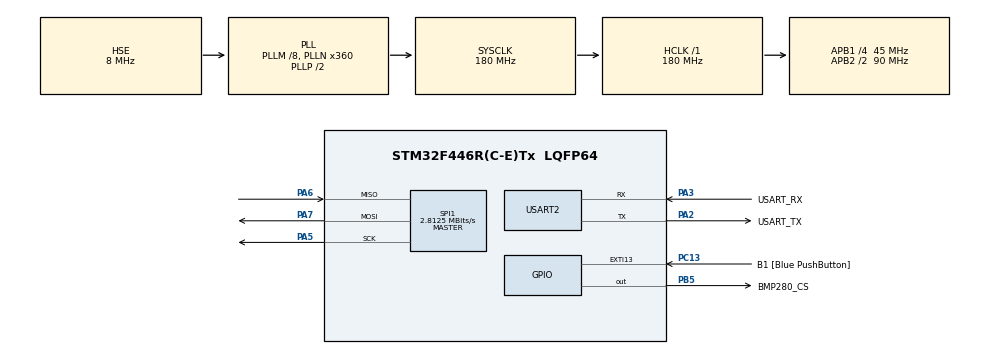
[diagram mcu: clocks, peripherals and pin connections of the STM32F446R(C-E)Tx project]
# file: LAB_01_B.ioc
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Mcu.Family=STM32F4
Mcu.Name=STM32F446R(C-E)Tx
Mcu.Package=LQFP64
NVIC.PriorityGroup=NVIC_PRIORITYGROUP_0
PA13.GPIO_Label=TMS
PA13.Signal=SYS_JTMS-SWDIO
PA14.GPIO_Label=TCK
PA14.Signal=SYS_JTCK-SWCLK
PA2.GPIO_Label=USART_TX
PA2.Mode=Asynchronous
PA2.Signal=USART2_TX
PA3.GPIO_Label=USART_RX
PA3.Mode=Asynchronous
PA3.Signal=USART2_RX
PA5.Mode=Full_Duplex_Master
PA5.Signal=SPI1_SCK
PA6.Mode=Full_Duplex_Master
PA6.Signal=SPI1_MISO
PA7.Mode=Full_Duplex_Master
PA7.Signal=SPI1_MOSI
PB3.GPIO_Label=SWO
PB3.Signal=SYS_JTDO-SWO
PB5.GPIO_Label=BMP280_CS
PB5.GPIO_Speed=GPIO_SPEED_FREQ_HIGH
PB5.PinState=GPIO_PIN_SET
PB5.Signal=GPIO_Output
PC13.GPIO_Label=B1 [Blue PushButton]
PC13.GPIO_ModeDefaultEXTI=GPIO_MODE_IT_FALLING
PC13.Signal=GPXTI13
PC14-OSC32_IN.Signal=RCC_OSC32_IN
PC15-OSC32_OUT.Signal=RCC_OSC32_OUT
PH0-OSC_IN.Mode=HSE-External-Oscillator
PH0-OSC_IN.Signal=RCC_OSC_IN
PH1-OSC_OUT.Mode=HSE-External-Oscillator
PH1-OSC_OUT.Signal=RCC_OSC_OUT
ProjectManager.HeapSize=0x200
ProjectManager.StackSize=0x400
ProjectManager.TargetToolchain=STM32CubeIDE
RCC.AHBFreq_Value=180000000
RCC.APB1CLKDivider=RCC_HCLK_DIV4
RCC.APB1Freq_Value=45000000
RCC.APB1TimFreq_Value=90000000
RCC.APB2CLKDivider=RCC_HCLK_DIV2
RCC.APB2Freq_Value=90000000
RCC.APB2TimFreq_Value=180000000
RCC.CortexFreq_Value=180000000
RCC.FLatency-AdvancedSettings=FLASH_LATENCY_5
RCC.HCLKFreq_Value=180000000
RCC.HSE_VALUE=8000000
RCC.HSI_VALUE=16000000
RCC.LSE_VALUE=32768
RCC.PLLM=8
RCC.PLLN=360
RCC.PLLSourceVirtual=RCC_PLLSOURCE_HSE
RCC.SYSCLKFreq_VALUE=180000000
RCC.SYSCLKSource=RCC_SYSCLKSOURCE_PLLCLK
RCC.USBFreq_Value=180000000
RCC.VCOOutputFreq_Value=360000000
SPI1.BaudRatePrescaler=SPI_BAUDRATEPRESCALER_32
SPI1.CalculateBaudRate=2.8125 MBits/s
SPI1.Direction=SPI_DIRECTION_2LINES
SPI1.Mode=SPI_MODE_MASTER
SPI1.VirtualType=VM_MASTER
TIM6.AutoReloadPreload=TIM_AUTORELOAD_PRELOAD_ENABLE
TIM6.Prescaler=89
USART2.VirtualMode=VM_ASYNC
VP_TIM6_VS_ClockSourceINT.Mode=Enable_Timer
board=NUCLEO-F446RE

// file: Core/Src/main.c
/* USER CODE BEGIN Header */
/**
  ******************************************************************************
  * @file           : main.c
  * @brief          : Main program body
  ******************************************************************************
  * @attention
  *
  * Copyright (c) 2026 STMicroelectronics.
  * All rights reserved.
  *
  * This software is licensed under terms that can be found in the LICENSE file
  * in the root directory of this software component.
  * If no LICENSE file comes with this software, it is provided AS-IS.
  *
  ******************************************************************************
  */
/* USER CODE END Header */
#include "main.h"

/* USER CODE BEGIN Includes */
#include <stdio.h>
#include <string.h>
#include <stdint.h>
/* USER CODE END Includes */

/* USER CODE BEGIN PD */
#define BMP280_REG_CHIP_ID     0xD0
#define BMP280_REG_RESET       0xE0
#define BMP280_REG_STATUS      0xF3
#define BMP280_REG_CTRL_MEAS   0xF4
#define BMP280_REG_CONFIG      0xF5
#define BMP280_REG_PRESS_MSB   0xF7
#define BMP280_REG_CALIB_START 0x88

#define CHIP_ID_BMP280  0x58
#define CHIP_ID_BME280  0x60

#define CS_LOW()   HAL_GPIO_WritePin(GPIOB, GPIO_PIN_5, GPIO_PIN_RESET)
#define CS_HIGH()  HAL_GPIO_WritePin(GPIOB, GPIO_PIN_5, GPIO_PIN_SET)
/* USER CODE END PD */

SPI_HandleTypeDef hspi1;

TIM_HandleTypeDef htim6;

UART_HandleTypeDef huart2;

/* USER CODE BEGIN PV */
static uint16_t T1;
static  int16_t T2, T3;
static uint16_t P1;
static  int16_t P2, P3, P4, P5;
static  int16_t P6, P7, P8, P9;
static  int32_t t_preq;
/* USER CODE END PV */

void SystemClock_Config(void);
static void MX_GPIO_Init(void);
static void MX_SPI1_Init(void);
static void MX_TIM6_Init(void);
static void MX_USART2_UART_Init(void);

/* USER CODE BEGIN 0 */

static uint8_t SPI_Transfer(uint8_t data)
{
    uint8_t rx = 0;
    HAL_SPI_TransmitReceive(&hspi1, &data, &rx, 1, HAL_MAX_DELAY);
    return rx;
}

static uint8_t SPI_ReadByte(uint8_t reg)
{
    CS_LOW();
    SPI_Transfer(reg | 0x80);
    uint8_t val = SPI_Transfer(0xFF);
    CS_HIGH();
    return val;
}

static void SPI_WriteByte(uint8_t reg, uint8_t data)
{
    CS_LOW();
    SPI_Transfer(reg & 0x7F);
    SPI_Transfer(data);
    CS_HIGH();
}

static void SPI_ReadBurst(uint8_t reg, uint8_t *buf, uint8_t len)
{
    CS_LOW();
    SPI_Transfer(reg | 0x80);
    for (uint8_t i = 0; i < len; i++)
        buf[i] = SPI_Transfer(0xFF);
    CS_HIGH();
}

static void Load_Calibration(void)
{
    uint8_t c[24];
    SPI_ReadBurst(BMP280_REG_CALIB_START, c, 24);
    T1 = (uint16_t)(c[1]  << 8 | c[0]);
    T2 =  (int16_t)(c[3]  << 8 | c[2]);
    T3 =  (int16_t)(c[5]  << 8 | c[4]);
    P1 = (uint16_t)(c[7]  << 8 | c[6]);
    P2 =  (int16_t)(c[9]  << 8 | c[8]);
    P3 =  (int16_t)(c[11] << 8 | c[10]);
    P4 =  (int16_t)(c[13] << 8 | c[12]);
    P5 =  (int16_t)(c[15] << 8 | c[14]);
    P6 =  (int16_t)(c[17] << 8 | c[16]);
    P7 =  (int16_t)(c[19] << 8 | c[18]);
    P8 =  (int16_t)(c[21] << 8 | c[20]);
    P9 =  (int16_t)(c[23] << 8 | c[22]);
}

static int32_t Compensate_Temperature(int32_t adc_T)
{
    int32_t var1, var2;
    var1 = ((((adc_T >> 3) - ((int32_t)T1 << 1))) * ((int32_t)T2)) >> 11;
    var2 = (((((adc_T >> 4) - ((int32_t)T1)) *
              ((adc_T >> 4) - ((int32_t)T1))) >> 12) *
              ((int32_t)T3)) >> 14;
    t_preq = var1 + var2;
    return (t_preq * 5 + 128) >> 8;
}

static uint32_t Compensate_Pressure(int32_t adc_P)
{
    int64_t var1, var2, p;
    var1 = ((int64_t)t_preq) - 128000;
    var2 = var1 * var1 * (int64_t)P6;
    var2 = var2 + ((var1 * (int64_t)P5) << 17);
    var2 = var2 + (((int64_t)P4) << 35);
    var1 = ((var1 * var1 * (int64_t)P3) >> 8) + ((var1 * (int64_t)P2) << 12);
    var1 = (((((int64_t)1) << 47) + var1)) * ((int64_t)P1) >> 33;
    if (var1 == 0) return 0;
    p    = 1048576 - adc_P;
    p    = (((p << 31) - var2) * 3125) / var1;
    var1 = (((int64_t)P9) * (p >> 13) * (p >> 13)) >> 25;
    var2 = (((int64_t)P8) * p) >> 19;
    p    = ((p + var1 + var2) >> 8) + (((int64_t)P7) << 4);
    return (uint32_t)p / 256;
}

static void Sensor_Init(void)
{
    SPI_WriteByte(BMP280_REG_RESET, 0xB6);
    HAL_Delay(10);
    /*
     * 0xF5 config: filter[2:0]=100 = x16, t_sb[2:0]=000 = 0.5ms
     * 0x57 ctrl_meas: osrs_t=010(x2), osrs_p=101(x16), mode=11(Normal)
     */
    SPI_WriteByte(BMP280_REG_CONFIG,   0x10);
    SPI_WriteByte(BMP280_REG_CTRL_MEAS, 0x57);
}

static void Read_TempPressure(int32_t *temp_c100, uint32_t *press_pa)
{
    uint8_t raw[6];
    SPI_ReadBurst(BMP280_REG_PRESS_MSB, raw, 6);

    int32_t adc_P = ((int32_t)raw[0] << 12) | ((int32_t)raw[1] << 4) | ((int32_t)raw[2] >> 4);
    int32_t adc_T = ((int32_t)raw[3] << 12) | ((int32_t)raw[4] << 4) | ((int32_t)raw[5] >> 4);

    /* Temperature MUST be compensated first — sets t_preq for pressure */
    *temp_c100 = Compensate_Temperature(adc_T);
    *press_pa  = Compensate_Pressure(adc_P);
}

static void UART_SendString(const char *s)
{
    HAL_UART_Transmit(&huart2, (uint8_t *)s, strlen(s), HAL_MAX_DELAY);
}

static void Sensor_Check(void)
{
    char msg[80];

    UART_SendString("==========================================================\r\n");
    UART_SendString("[1] Sending CS Low and checking device response...\r\n");
    uint8_t chip_id = SPI_ReadByte(BMP280_REG_CHIP_ID);
    if (chip_id != CHIP_ID_BME280 && chip_id != CHIP_ID_BMP280)
    {
        UART_SendString("[!] No valid response received. Going idle...\r\n");
        while (1);
    }
    UART_SendString("[*] Device response received...\r\n");
    HAL_Delay(5000);

    UART_SendString("==========================================================\r\n");
    UART_SendString("[2] Reading chip ID register (0xD0)...\r\n");
    snprintf(msg, sizeof(msg), "Raw value: 0x%02X\r\n", chip_id);
    UART_SendString(msg);
    UART_SendString("==========================================================\r\n");

    UART_SendString("[3] Identifying the sensor (BME280 or BMP280)...\r\n");
    if (chip_id == CHIP_ID_BME280)
    {
        UART_SendString("[*] BME280 detected (has humidity)\r\n");
        UART_SendString("[!] Humidity is not checked in this code...\r\n");
    }
    else
        UART_SendString("[*] BMP280 detected\r\n");
    UART_SendString("==========================================================\r\n");
}

static void Print_TempPressure(void)
{
    char msg[120];
    int32_t  temp;
    uint32_t press;

    Read_TempPressure(&temp, &press);

    int32_t  t_int  = temp / 100;
    int32_t  t_frac = (temp < 0 ? -temp : temp) % 100;
    uint32_t p_int  = press / 100;
    uint32_t p_frac = press % 100;

    snprintf(msg, sizeof(msg), "|       %6ld.%02ld°C           |      %6lu.%02lu hPa       |\r\n",
             (long)t_int, (long)t_frac,
             (unsigned long)p_int, (unsigned long)p_frac);
    UART_SendString(msg);
}

/* USER CODE END 0 */

int main(void)
{

  /* MCU Configuration--------------------------------------------------------*/

  /* Reset of all peripherals, Initializes the Flash interface and the Systick. */
  HAL_Init();

  /* Configure the system clock */
  SystemClock_Config();

  /* Initialize all configured peripherals */
  MX_GPIO_Init();
  MX_SPI1_Init();
  MX_TIM6_Init();
  MX_USART2_UART_Init();
  /* USER CODE BEGIN 2 */
  CS_HIGH();
  HAL_Delay(10);

  UART_SendString("LAB 01 (HAL): BME/P-280 Sensor Communication by SPI\r\n");
  HAL_Delay(5000);
  Sensor_Check();

  UART_SendString("[4] Reading Chip Calibration Factors...\r\n");
  Load_Calibration();
  UART_SendString("Calibration Factors found and loaded...\r\n");
  UART_SendString("==========================================================\r\n");

  UART_SendString("[5] Configuring BME/P280 in Normal Mode...\r\n");
  Sensor_Init();
  UART_SendString("BME/P Ready for Operation...\r\n");
  HAL_Delay(5000);

  UART_SendString("==========================================================\r\n");
  UART_SendString("[6] Temperature and Pressure Record per Second...\r\n");
  UART_SendString("==========================================================\r\n");
  UART_SendString("|       Temperature (°C)      |      Pressure (hPa)      |\r\n");
  /* USER CODE END 2 */

  /* Infinite loop */
  /* USER CODE BEGIN WHILE */
  while (1)
  {
	  /* USER CODE BEGIN 3 */
	  Print_TempPressure();
	  HAL_Delay(1000);
	  /* USER CODE END 3 */
  }
  /* USER CODE END 3 */
}

void SystemClock_Config(void)
{
  RCC_OscInitTypeDef RCC_OscInitStruct = {0};
  RCC_ClkInitTypeDef RCC_ClkInitStruct = {0};

  /** Configure the main internal regulator output voltage
  */
  __HAL_RCC_PWR_CLK_ENABLE();
  __HAL_PWR_VOLTAGESCALING_CONFIG(PWR_REGULATOR_VOLTAGE_SCALE1);

  /** Initializes the RCC Oscillators according to the specified parameters
  * in the RCC_OscInitTypeDef structure.
  */
  RCC_OscInitStruct.OscillatorType = RCC_OSCILLATORTYPE_HSE;
  RCC_OscInitStruct.HSEState = RCC_HSE_ON;
  RCC_OscInitStruct.PLL.PLLState = RCC_PLL_ON;
  RCC_OscInitStruct.PLL.PLLSource = RCC_PLLSOURCE_HSE;
  RCC_OscInitStruct.PLL.PLLM = 8;
  RCC_OscInitStruct.PLL.PLLN = 360;
  RCC_OscInitStruct.PLL.PLLP = RCC_PLLP_DIV2;
  RCC_OscInitStruct.PLL.PLLQ = 2;
  RCC_OscInitStruct.PLL.PLLR = 2;
  if (HAL_RCC_OscConfig(&RCC_OscInitStruct) != HAL_OK)
  {
    Error_Handler();
  }

  /** Activate the Over-Drive mode
  */
  if (HAL_PWREx_EnableOverDrive() != HAL_OK)
  {
    Error_Handler();
  }

  /** Initializes the CPU, AHB and APB buses clocks
  */
  RCC_ClkInitStruct.ClockType = RCC_CLOCKTYPE_HCLK|RCC_CLOCKTYPE_SYSCLK
                              |RCC_CLOCKTYPE_PCLK1|RCC_CLOCKTYPE_PCLK2;
  RCC_ClkInitStruct.SYSCLKSource = RCC_SYSCLKSOURCE_PLLCLK;
  RCC_ClkInitStruct.AHBCLKDivider = RCC_SYSCLK_DIV1;
  RCC_ClkInitStruct.APB1CLKDivider = RCC_HCLK_DIV4;
  RCC_ClkInitStruct.APB2CLKDivider = RCC_HCLK_DIV2;

  if (HAL_RCC_ClockConfig(&RCC_ClkInitStruct, FLASH_LATENCY_5) != HAL_OK)
  {
    Error_Handler();
  }
}

static void MX_SPI1_Init(void)
{

  /* SPI1 parameter configuration*/
  hspi1.Instance = SPI1;
  hspi1.Init.Mode = SPI_MODE_MASTER;
  hspi1.Init.Direction = SPI_DIRECTION_2LINES;
  hspi1.Init.DataSize = SPI_DATASIZE_8BIT;
  hspi1.Init.CLKPolarity = SPI_POLARITY_LOW;
  hspi1.Init.CLKPhase = SPI_PHASE_1EDGE;
  hspi1.Init.NSS = SPI_NSS_SOFT;
  hspi1.Init.BaudRatePrescaler = SPI_BAUDRATEPRESCALER_32;
  hspi1.Init.FirstBit = SPI_FIRSTBIT_MSB;
  hspi1.Init.TIMode = SPI_TIMODE_DISABLE;
  hspi1.Init.CRCCalculation = SPI_CRCCALCULATION_DISABLE;
  hspi1.Init.CRCPolynomial = 10;
  if (HAL_SPI_Init(&hspi1) != HAL_OK)
  {
    Error_Handler();
  }

}

static void MX_TIM6_Init(void)
{

  TIM_MasterConfigTypeDef sMasterConfig = {0};

  htim6.Instance = TIM6;
  htim6.Init.Prescaler = 89;
  htim6.Init.CounterMode = TIM_COUNTERMODE_UP;
  htim6.Init.Period = 65535;
  htim6.Init.AutoReloadPreload = TIM_AUTORELOAD_PRELOAD_ENABLE;
  if (HAL_TIM_Base_Init(&htim6) != HAL_OK)
  {
    Error_Handler();
  }
  sMasterConfig.MasterOutputTrigger = TIM_TRGO_RESET;
  sMasterConfig.MasterSlaveMode = TIM_MASTERSLAVEMODE_DISABLE;
  if (HAL_TIMEx_MasterConfigSynchronization(&htim6, &sMasterConfig) != HAL_OK)
  {
    Error_Handler();
  }

}

static void MX_USART2_UART_Init(void)
{

  huart2.Instance = USART2;
  huart2.Init.BaudRate = 115200;
  huart2.Init.WordLength = UART_WORDLENGTH_8B;
  huart2.Init.StopBits = UART_STOPBITS_1;
  huart2.Init.Parity = UART_PARITY_NONE;
  huart2.Init.Mode = UART_MODE_TX_RX;
  huart2.Init.HwFlowCtl = UART_HWCONTROL_NONE;
  huart2.Init.OverSampling = UART_OVERSAMPLING_16;
  if (HAL_UART_Init(&huart2) != HAL_OK)
  {
    Error_Handler();
  }

}

static void MX_GPIO_Init(void)
{
  GPIO_InitTypeDef GPIO_InitStruct = {0};

  /* GPIO Ports Clock Enable */
  __HAL_RCC_GPIOC_CLK_ENABLE();
  __HAL_RCC_GPIOH_CLK_ENABLE();
  __HAL_RCC_GPIOA_CLK_ENABLE();
  __HAL_RCC_GPIOB_CLK_ENABLE();

  /*Configure GPIO pin Output Level */
  HAL_GPIO_WritePin(BMP280_CS_GPIO_Port, BMP280_CS_Pin, GPIO_PIN_SET);

  /*Configure GPIO pin : B1_Pin */
  GPIO_InitStruct.Pin = B1_Pin;
  GPIO_InitStruct.Mode = GPIO_MODE_IT_FALLING;
  GPIO_InitStruct.Pull = GPIO_NOPULL;
  HAL_GPIO_Init(B1_GPIO_Port, &GPIO_InitStruct);

  /*Configure GPIO pin : BMP280_CS_Pin */
  GPIO_InitStruct.Pin = BMP280_CS_Pin;
  GPIO_InitStruct.Mode = GPIO_MODE_OUTPUT_PP;
  GPIO_InitStruct.Pull = GPIO_NOPULL;
  GPIO_InitStruct.Speed = GPIO_SPEED_FREQ_HIGH;
  HAL_GPIO_Init(BMP280_CS_GPIO_Port, &GPIO_InitStruct);

}

void Error_Handler(void)
{
  __disable_irq();
  while (1)
  {
  }
}
